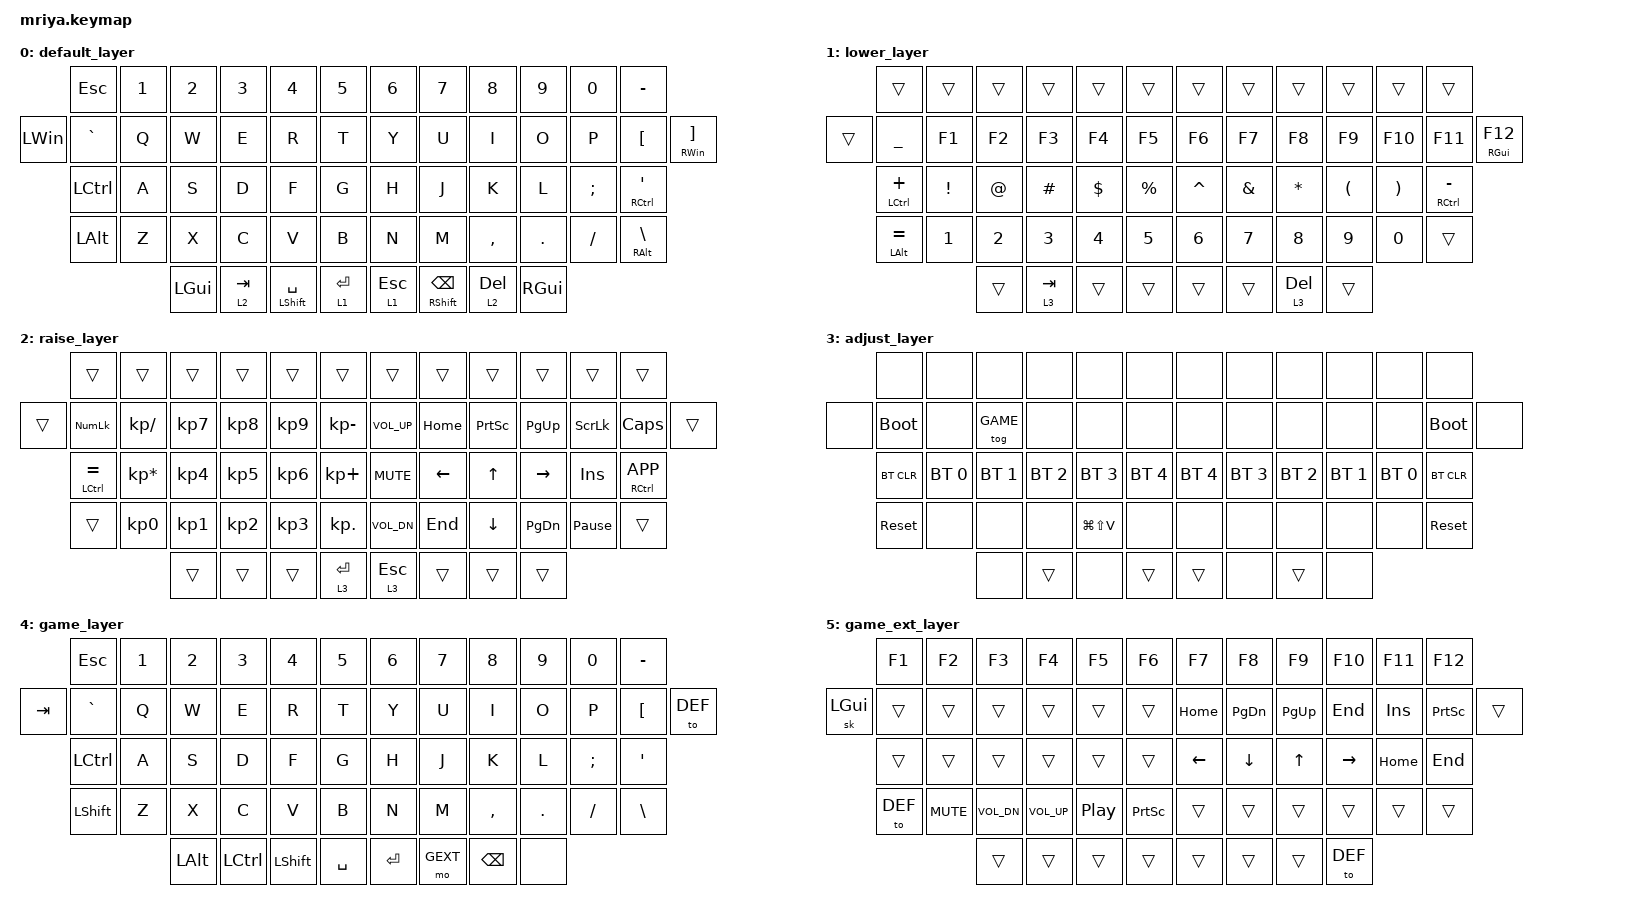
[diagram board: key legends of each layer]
/*
 * Copyright (c) 2023 Andrei Gaevskii
 *
 * Базовые слои — с ветки mriya58 (DEF / LWR / RSE / ADJ), без изменений.
 * Сверху добавлены GAME и GEXT: игровой режим без единого hold-tap.
 *   вход  — ADJ + W
 *   выход — крайний правый большой палец
 *
 * SPDX-License-Identifier: MIT
 */

#include <behaviors.dtsi>
#include <dt-bindings/zmk/keys.h>
#include <dt-bindings/zmk/bt.h>

#define DEF 0
#define LWR 1
#define RSE 2
#define ADJ 3
#define GAME 4
#define GEXT 5

&lt {
    quick_tap_ms = <200>;
};

&mt {
    quick_tap_ms = <200>;
    /* balanced: hold только если вторая клавиша ОТПУЩЕНА раньше пальца.
     * Дефолтный hold-preferred ловил Shift при перекрытии пробела с буквой. */
    flavor = "balanced";
};

/ {
    behaviors {
        /* Мод-тап для символов, которые набираются в быстром ролле (' \ ]).
         * tap-preferred + require-prior-idle: посреди набора всегда символ,
         * модификатор — только после паузы. */
        hts: hold_tap_symbol {
            compatible = "zmk,behavior-hold-tap";
            #binding-cells = <2>;
            flavor = "tap-preferred";
            tapping-term-ms = <220>;
            quick-tap-ms = <200>;
            require-prior-idle-ms = <150>;
            bindings = <&kp>, <&kp>;
        };
    };
};

/* Sticky Super в GEXT: успеть отпустить слой и нажать цифру/букву в GAME */
&sk {
    release-after-ms = <2000>;
};

/ {
    keymap {
        compatible = "zmk,keymap";

        default_layer {
            bindings = <
            &kp ESC  &kp N1    &kp N2     &kp N3           &kp N4     &kp N5       &kp N6          &kp N7     &kp N8                  &kp N9    &kp N0      &kp MINUS
&kp LWIN  &kp GRAVE   &kp Q     &kp W      &kp E            &kp R      &kp T        &kp Y           &kp U      &kp I                   &kp O     &kp P       &kp LBKT  &hts RWIN RBKT
          &kp LCTRL   &kp A     &kp S      &kp D            &kp F      &kp G        &kp H           &kp J      &kp K                   &kp L  &kp SEMI  &hts RCTRL SQT
           &kp LALT   &kp Z     &kp X      &kp C            &kp V      &kp B        &kp N           &kp M  &kp COMMA                 &kp DOT  &kp FSLH  &hts RALT BSLH
                             &kp LGUI  &lt 2 TAB  &mt LSHFT SPACE  &lt 1 RET    &lt 1 ESC  &mt RSHFT BSPC  &lt 2 DEL  &kp RGUI
            >;
        };

        lower_layer {
            bindings = <
                &trans    &trans  &trans     &trans    &trans     &trans       &trans    &trans     &trans    &trans    &trans           &trans
&trans       &kp UNDER    &kp F1  &kp F2     &kp F3    &kp F4     &kp F5       &kp F6    &kp F7     &kp F8    &kp F9   &kp F10          &kp F11  &mt RGUI F12
        &mt LCTRL PLUS  &kp EXCL  &kp AT   &kp HASH  &kp DLLR  &kp PRCNT    &kp CARET  &kp AMPS   &kp STAR  &kp LPAR  &kp RPAR  &mt RCTRL MINUS
        &mt LALT EQUAL    &kp N1  &kp N2     &kp N3    &kp N4     &kp N5       &kp N6    &kp N7     &kp N8    &kp N9    &kp N0           &trans
                                  &trans  &lt 3 TAB    &trans     &trans       &trans    &trans  &lt 3 DEL    &trans
            >;
        };

        raise_layer {
            bindings = <
                 &trans           &trans     &trans     &trans     &trans        &trans          &trans    &trans     &trans     &trans           &trans           &trans
&trans       &kp KP_NUM     &kp KP_SLASH  &kp KP_N7  &kp KP_N8  &kp KP_N9  &kp KP_MINUS    &kp C_VOL_UP  &kp HOME  &kp PSCRN  &kp PG_UP         &kp SLCK         &kp CAPS  &trans
        &mt LCTRL EQUAL  &kp KP_MULTIPLY  &kp KP_N4  &kp KP_N5  &kp KP_N6   &kp KP_PLUS      &kp C_MUTE  &kp LEFT     &kp UP  &kp RIGHT          &kp INS  &mt RCTRL K_APP
                 &trans        &kp KP_N0  &kp KP_N1  &kp KP_N2  &kp KP_N3    &kp KP_DOT    &kp C_VOL_DN   &kp END   &kp DOWN  &kp PG_DN  &kp PAUSE_BREAK           &trans
                                             &trans     &trans     &trans     &lt 3 RET       &lt 3 ESC    &trans     &trans     &trans
            >;
        };

        /* ADJ + V — история буфера обмена: клавиша шлёт Super+Shift+V,
         * его ловит i3 (bindcode $mod+Shift+55) и дёргает `copyq toggle`.
         * Это HID-usage, а не символ, — работает и на RU-раскладке. */
        adjust_layer {
            bindings = <
             &none         &none         &none         &none         &none         &none           &none         &none         &none         &none         &none        &none
&none  &bootloader         &none     &tog GAME         &none         &none         &none           &none         &none         &none         &none         &none  &bootloader  &none
        &bt BT_CLR  &bt BT_SEL 0  &bt BT_SEL 1  &bt BT_SEL 2  &bt BT_SEL 3  &bt BT_SEL 4    &bt BT_SEL 4  &bt BT_SEL 3  &bt BT_SEL 2  &bt BT_SEL 1  &bt BT_SEL 0   &bt BT_CLR
        &sys_reset         &none         &none         &none &kp LG(LS(V))         &none           &none         &none         &none         &none         &none   &sys_reset
                                         &none        &trans         &none        &trans          &trans         &none        &trans         &none
            >;
        };

        /* ══════════════════════════════════════════════════════
         *  Layer 4 — GAME (вход: ADJ + W)
         *  Ни одного hold-tap: все клавиши — чистый &kp.
         *  Большие пальцы слева: ALT · CTRL · SHIFT · SPACE
         *  Мизинец домашнего ряда — LCTRL (присед), ESC только в цифровом ряду
         *  Выход: внешняя правая клавиша верхнего ряда (там, где ] в DEF).
         *  На крайнем правом большом пальце его больше НЕТ — он сидел под
         *  ладонью и ловил случайные нажатия посреди игры.
         * ══════════════════════════════════════════════════════ */
        game_layer {
            bindings = <
            &kp ESC    &kp N1     &kp N2     &kp N3     &kp N4     &kp N5         &kp N6     &kp N7     &kp N8     &kp N9     &kp N0     &kp MINUS
&kp TAB    &kp GRAVE  &kp Q      &kp W      &kp E      &kp R      &kp T          &kp Y      &kp U      &kp I      &kp O      &kp P      &kp LBKT   &to DEF
           &kp LCTRL  &kp A      &kp S      &kp D      &kp F      &kp G          &kp H      &kp J      &kp K      &kp L      &kp SEMI   &kp SQT
           &kp LSHFT  &kp Z      &kp X      &kp C      &kp V      &kp B          &kp N      &kp M      &kp COMMA  &kp DOT    &kp FSLH   &kp BSLH
                                 &kp LALT   &kp LCTRL  &kp LSHFT  &kp SPACE      &kp RET    &mo GEXT   &kp BSPC   &none
            >;
        };

        /* ══════════════════════════════════════════════════════
         *  Layer 5 — GEXT (держать правым большим пальцем в GAME)
         *  F1–F12 верхним рядом · стрелки на HJKL · медиа
         *  Домашний ряд слева прозрачный: присед и ASDFG работают и с зажатым
         *  GEXT. Управление BT живёт только на ADJ — в игре оно било по бондам.
         *  Внешний левый верхний — sticky Super для i3 (тап, потом цифра в GAME)
         *  Выход в DEF: левый мизинец нижнего ряда или крайний палец
         * ══════════════════════════════════════════════════════ */
        game_ext_layer {
            bindings = <
            &kp F1     &kp F2     &kp F3     &kp F4     &kp F5     &kp F6         &kp F7     &kp F8     &kp F9     &kp F10    &kp F11    &kp F12
&sk LGUI   &trans     &trans     &trans     &trans     &trans     &trans          &kp HOME   &kp PG_DN  &kp PG_UP  &kp END    &kp INS    &kp PSCRN  &trans
           &trans     &trans     &trans     &trans     &trans     &trans         &kp LEFT   &kp DOWN   &kp UP     &kp RIGHT  &kp HOME   &kp END
           &to DEF    &kp C_MUTE &kp C_VOL_DN &kp C_VOL_UP &kp C_PP &kp PSCRN     &trans     &trans     &trans     &trans     &trans     &trans
                                 &trans     &trans     &trans     &trans          &trans     &trans     &trans     &to DEF
            >;
        };
    };
};
